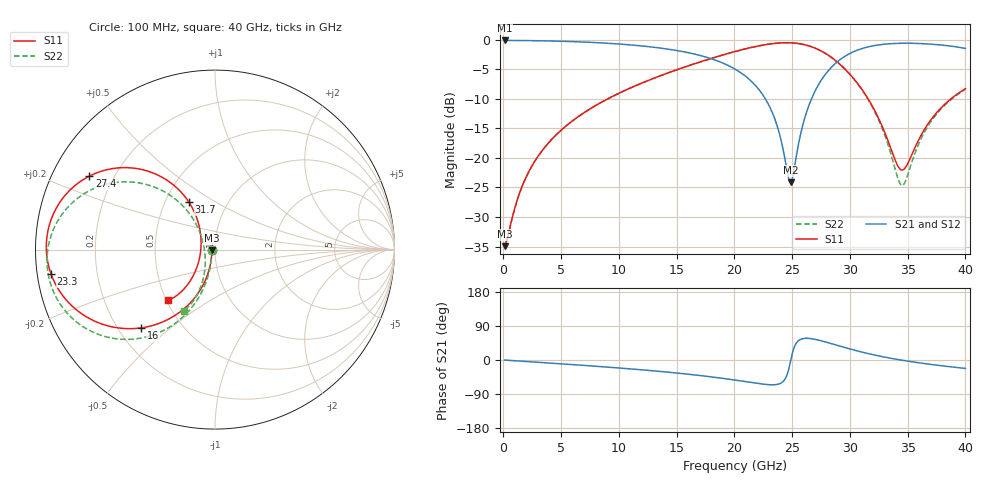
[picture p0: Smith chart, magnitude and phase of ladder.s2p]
! B_ts6_L1L3_stub: via ladder as kisi uses it (kisi_si::via_pbm, graded grid, junction model), ports at the via
# Hz S RI R 50
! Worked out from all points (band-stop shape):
!   400 points, 100 MHz to 40 GHz, reference 50 ohm
!   highest |S21| = -0.15 dB at 100 MHz (marker M1); lowest = -24.2 dB at 24.9 GHz (marker M2)
!   |S21| within 3 dB of the highest: start of sweep to 17.85 GHz; 29.31 GHz to end of sweep
!   lowest |S11| = -34.9 dB at 100 MHz (marker M3), VSWR 1.04, Z = 48.3 - j0.32 ohm
!   |S11| at or under -10 dB: start of sweep to 9.055 GHz; 31.57 GHz to 38.77 GHz (7.2 GHz wide, 20.5 % of centre)
!   |S22| runs from -34.9 to -0.5 dB; largest |S21 - S12| = 0
!   S11 on the Smith chart (normalised r, x): 100 MHz: 0.97, -0.01; 16 GHz: 0.29, -0.40; 23.3 GHz: 0.04, -0.07; 27.4 GHz: 0.11, +0.27; 31.7 GHz: 0.66, +0.38; 40 GHz: 0.51, -0.34
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1e8  -0.0176 -0.00331  0.9824 -0.00341  0.9824 -0.00341  -0.0176 -0.00332
1.3e9  -0.0198 -0.043  0.9804 -0.0443  0.9804 -0.0443  -0.0194 -0.0431
2.5e9  -0.0258 -0.0825  0.975 -0.0851  0.975 -0.0851  -0.0242 -0.0829
4.3e9  -0.042 -0.1412  0.9604 -0.1459  0.9604 -0.1459  -0.0372 -0.1423
6.8e9  -0.0796 -0.2206  0.9262 -0.2287  0.9262 -0.2287  -0.0679 -0.2241
1.34e10  -0.2799 -0.3979  0.74 -0.422  0.74 -0.422  -0.2393 -0.4229
1.6e10  -0.4113 -0.4361  0.6144 -0.4711  0.6144 -0.4711  -0.3584 -0.4797
2.01e10  -0.6932 -0.3876  0.3348 -0.4474  0.3348 -0.4474  -0.6336 -0.4779
2.2e10  -0.8373 -0.2706  0.1845 -0.3441  0.1845 -0.3441  -0.7889 -0.3884
2.33e10  -0.9136 -0.1357  0.0991 -0.2173  0.0991 -0.2173  -0.8826 -0.2703
2.39e10  -0.9338 -0.0578  0.0732 -0.142  0.0732 -0.142  -0.9138 -0.1982
2.49e10  -0.9339 0.0881  0.0619 0.00222  0.0619 0.00222  -0.9358 -0.0568
2.58e10  -0.8885 0.2233  0.0966 0.1398  0.0966 0.1398  -0.9119 0.0819
2.67e10  -0.797 0.342  0.1783 0.265  0.1783 0.265  -0.8403 0.2123
2.74e10  -0.6997 0.4096  0.27 0.3402  0.27 0.3402  -0.7548 0.294
2.93e10  -0.3996 0.4443  0.5672 0.3997  0.5672 0.3997  -0.4623 0.3765
3.17e10  -0.145 0.2637  0.8385 0.2417  0.8385 0.2417  -0.1756 0.2398
3.34e10  -0.0825 0.1018  0.9167 0.0857  0.9167 0.0857  -0.0817 0.0889
3.42e10  -0.0774 0.0318  0.9289 0.0162  0.9289 0.0162  -0.0622 0.0195
3.46e10  -0.0791 -0.000944  0.9305 -0.0167  0.9305 -0.0167  -0.0571 -0.0138
3.69e10  -0.1277 -0.1572  0.8982 -0.1779  0.8982 -0.1779  -0.0711 -0.1815
4e10  -0.2603 -0.2825  0.7792 -0.3187  0.7792 -0.3187  -0.1717 -0.3395
